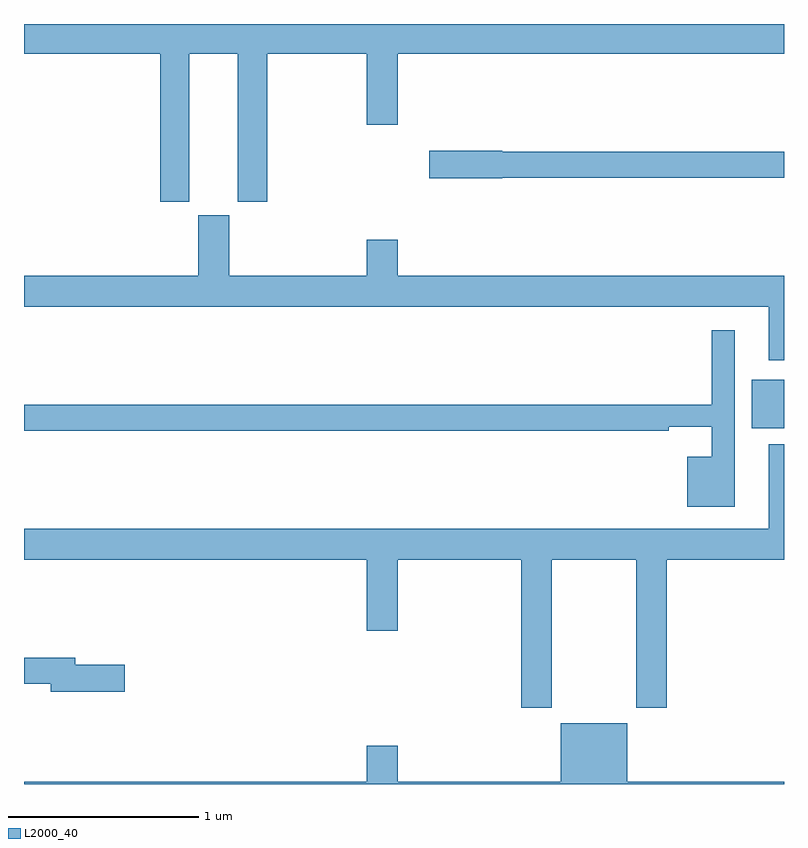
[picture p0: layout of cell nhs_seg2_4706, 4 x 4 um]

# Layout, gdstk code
import gdstk
lib = gdstk.Library(unit=1e-6, precision=1e-09)
def R(c, l, rs):  # rectangles x0, y0, x1, y1
    for r in rs: c.add(gdstk.rectangle(r[:2], r[2:], *l))
def P(c, l, *ps):  # polygons
    for p in ps: c.add(gdstk.Polygon(p, *l))
L2000_40 = (2000, 40)

nhs_seg2_4706 = lib.new_cell('nhs_seg2_4706')
R(nhs_seg2_4706, L2000_40, [(370.829,637.673,371,637.927)])
P(nhs_seg2_4706, L2000_40, [(367,639.644),(367.718,639.644),(367.718,638.865),(367.87,638.865),(367.87,639.644),(368.126,639.644),(368.126,638.865),(368.279,638.865),(368.279,639.644),(368.804,639.644),(368.804,639.27),(368.968,639.27),(368.968,639.644),(371,639.644),(371,639.8),(367,639.8)],
  [(369.516,638.992),(371,638.992),(371,639.128),(369.516,639.128),(369.516,639.134),(369.132,639.134),(369.132,638.987),(369.516,638.987)],
  [(371,638.476),(368.968,638.476),(368.968,638.665),(368.804,638.665),(368.804,638.476),(368.08,638.476),(368.08,638.793),(367.916,638.793),(367.916,638.476),(367,638.476),(367,638.312),(370.919,638.312),(370.919,638.031),(371,638.031)],
  [(370.741,638.188),(370.62,638.188),(370.62,637.796),(367,637.796),(367,637.66),(370.394,637.66),(370.394,637.679),(370.62,637.679),(370.62,637.522),(370.49,637.522),(370.49,637.259),(370.741,637.259)],
  [(369.777,636.98),(370.222,636.98),(370.222,636.201),(370.382,636.201),(370.382,636.98),(371,636.98),(371,637.588),(370.919,637.588),(370.919,637.144),(367,637.144),(367,636.98),(368.804,636.98),(368.804,636.606),(368.968,636.606),(368.968,636.98),(369.617,636.98),(369.617,636.201),(369.777,636.201)],
  [(367.531,636.428),(367.27,636.428),(367.27,636.464),(367,636.464),(367,636.328),(367.142,636.328),(367.142,636.286),(367.531,636.286)],
  [(371,635.812),(370.174,635.812),(370.174,636.121),(369.824,636.121),(369.824,635.812),(368.968,635.812),(368.968,636.001),(368.804,636.001),(368.804,635.812),(367,635.812),(367,635.8),(371,635.8)])

lib.write_gds('nhs_seg2_4706.gds')
